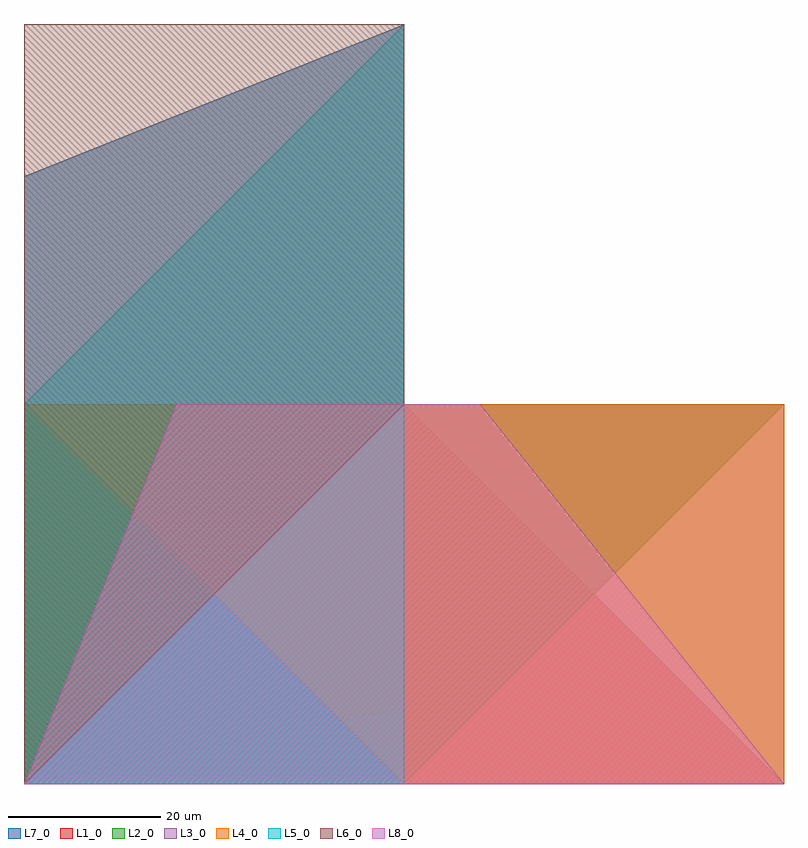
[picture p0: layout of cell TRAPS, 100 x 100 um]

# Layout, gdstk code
import gdstk
lib = gdstk.Library(unit=1e-6, precision=1e-06)
def P(c, l, *ps):  # polygons
    for p in ps: c.add(gdstk.Polygon(p, *l))
L1_0 = (1, 0)
L2_0 = (2, 0)
L3_0 = (3, 0)
L4_0 = (4, 0)
L5_0 = (5, 0)
L6_0 = (6, 0)
L7_0 = (7, 0)
L8_0 = (8, 0)

traps = lib.new_cell('TRAPS')
P(traps, L1_0, [(0,0),(0,50),(50,50),(100,0)])
P(traps, L2_0, [(0,0),(0,50),(100,50),(50,0)])
P(traps, L3_0, [(0,0),(50,50),(100,50),(100,0)])
P(traps, L4_0, [(50,0),(0,50),(100,50),(100,0)])
P(traps, L5_0, [(0,0),(0,50),(50,100),(50,0)])
P(traps, L6_0, [(0,0),(0,100),(50,100),(50,50)])
P(traps, L7_0, [(0,0),(0,80),(50,100),(50,10)])
P(traps, L8_0, [(20,50),(60,50),(100,0),(0,0)])

lib.write_gds('TRAPS.gds')
